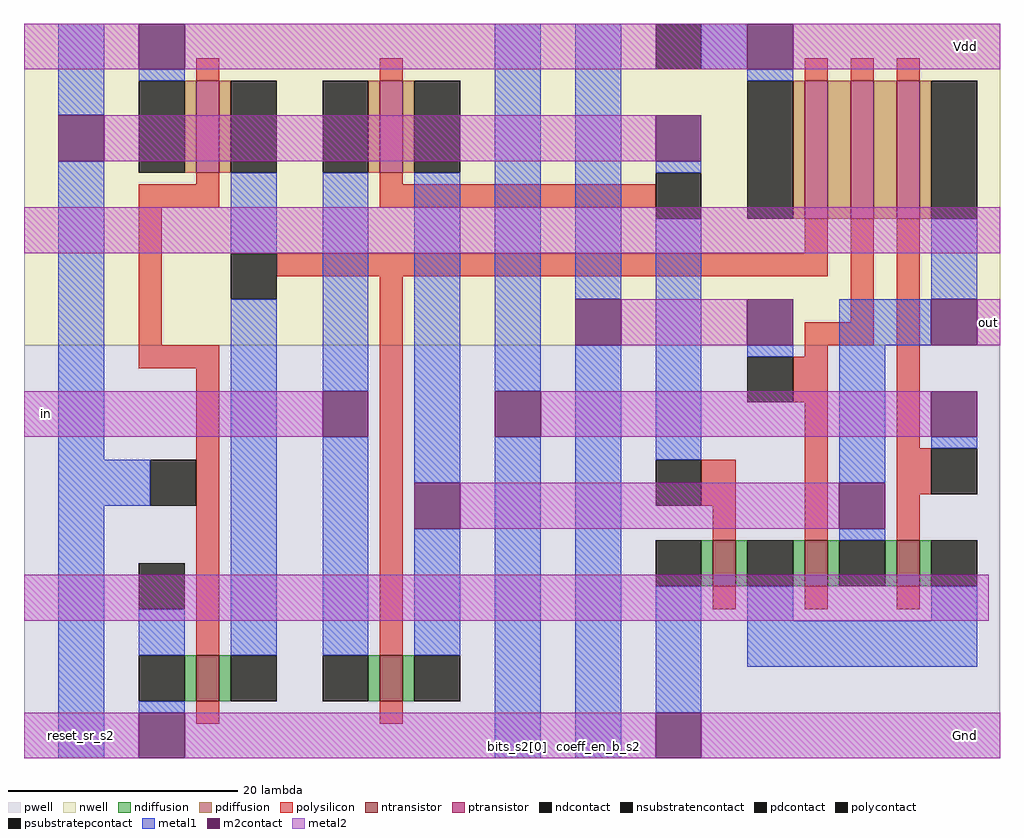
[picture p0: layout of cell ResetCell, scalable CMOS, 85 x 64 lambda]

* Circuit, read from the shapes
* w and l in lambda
.subckt ResetCell Gnd Vdd bits_s2[0] coeff_en_b_s2 in out reset_sr_s2
M1 n1 reset_sr_s2 Gnd Gnd nfet w=4 l=2
M2 out n1 in Gnd nfet w=4 l=2
M3 n2 reset_sr_s2 Gnd Gnd nfet w=4 l=2
M4 out coeff_en_b_s2 n2 Gnd nfet w=4 l=2
M5 n2 bits_s2[0] out Gnd nfet w=4 l=2
M6 n1 reset_sr_s2 Vdd Vdd pfet w=8 l=2
M7 out reset_sr_s2 in Vdd pfet w=8 l=2
M8 n3 n1 Vdd Vdd pfet w=12 l=2
M9 n4 coeff_en_b_s2 n3 Vdd pfet w=12 l=2
M10 out bits_s2[0] n4 Vdd pfet w=12 l=2
.ends

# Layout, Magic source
magic
tech scmos
<< pwell >>
rect -22 -2 63 34
<< nwell >>
rect -22 34 63 62
<< polysilicon >>
rect -7 57 -5 59
rect 9 57 11 59
rect 46 57 48 59
rect 50 57 52 59
rect 54 57 56 59
rect -7 48 -5 49
rect -12 46 -5 48
rect 9 48 11 49
rect 9 46 33 48
rect -12 34 -10 46
rect 46 42 48 45
rect 0 40 48 42
rect -12 32 -5 34
rect -7 7 -5 32
rect 9 7 11 40
rect 50 36 52 45
rect 46 34 52 36
rect 46 33 48 34
rect 45 29 48 33
rect 37 20 40 24
rect 38 17 40 20
rect 46 17 48 29
rect 54 25 56 45
rect 54 21 57 25
rect 54 17 56 21
rect 38 11 40 13
rect 46 11 48 13
rect 54 11 56 13
rect -7 1 -5 3
rect 9 1 11 3
<< ndiffusion >>
rect 37 13 38 17
rect 40 13 41 17
rect 45 13 46 17
rect 48 13 49 17
rect 53 13 54 17
rect 56 13 57 17
rect -8 3 -7 7
rect -5 3 -4 7
rect 8 3 9 7
rect 11 3 12 7
<< pdiffusion >>
rect -8 49 -7 57
rect -5 49 -4 57
rect 8 49 9 57
rect 11 49 12 57
rect 45 45 46 57
rect 48 45 50 57
rect 52 45 54 57
rect 56 45 57 57
<< metal1 >>
rect -19 54 -15 62
rect -19 24 -15 50
rect -12 57 -8 58
rect -4 42 0 49
rect -19 20 -11 24
rect -19 -2 -15 20
rect -12 7 -8 11
rect -4 7 0 38
rect 4 30 8 49
rect 4 7 8 26
rect 12 22 16 49
rect 12 7 16 18
rect 19 30 23 62
rect -12 2 -8 3
rect 19 -2 23 26
rect 26 38 30 62
rect 37 58 41 62
rect 41 57 45 58
rect 26 -2 30 34
rect 33 49 37 50
rect 33 24 37 45
rect 57 38 61 45
rect 41 33 45 34
rect 49 34 57 38
rect 49 22 53 34
rect 57 25 61 26
rect 49 17 53 18
rect 33 2 37 13
rect 41 10 45 13
rect 57 10 61 13
rect 41 6 61 10
<< metal2 >>
rect -22 58 -12 62
rect -8 58 41 62
rect 45 58 63 62
rect -15 50 33 54
rect -22 42 63 46
rect 30 34 41 38
rect 61 34 63 38
rect -22 26 4 30
rect 23 26 57 30
rect 16 18 49 22
rect -22 10 62 14
rect -22 -2 -12 2
rect -8 -2 33 2
rect 37 -2 63 2
<< ntransistor >>
rect 38 13 40 17
rect 46 13 48 17
rect 54 13 56 17
rect -7 3 -5 7
rect 9 3 11 7
<< ptransistor >>
rect -7 49 -5 57
rect 9 49 11 57
rect 46 45 48 57
rect 50 45 52 57
rect 54 45 56 57
<< polycontact >>
rect 33 45 37 49
rect -4 38 0 42
rect -11 20 -7 24
rect 41 29 45 33
rect 33 20 37 24
rect 57 21 61 25
<< ndcontact >>
rect 33 13 37 17
rect 41 13 45 17
rect 49 13 53 17
rect 57 13 61 17
rect -12 3 -8 7
rect -4 3 0 7
rect 4 3 8 7
rect 12 3 16 7
<< pdcontact >>
rect -12 49 -8 57
rect -4 49 0 57
rect 4 49 8 57
rect 12 49 16 57
rect 41 45 45 57
rect 57 45 61 57
<< m2contact >>
rect -19 50 -15 54
rect -12 58 -8 62
rect 4 26 8 30
rect 12 18 16 22
rect 19 26 23 30
rect -12 -2 -8 2
rect 41 58 45 62
rect 26 34 30 38
rect 33 50 37 54
rect 41 34 45 38
rect 57 34 61 38
rect 49 18 53 22
rect 57 26 61 30
rect 33 -2 37 2
<< psubstratepcontact >>
rect -12 11 -8 15
<< nsubstratencontact >>
rect 33 58 37 62
<< labels >>
rlabel metal2 60 0 60 0 3 Gnd
rlabel metal2 60 60 60 60 3 Vdd
rlabel metal2 -20 28 -20 28 7 in
rlabel metal1 -17 0 -17 0 7 reset_sr_s2
rlabel metal1 21 -1 21 -1 6 bits_s2[0]
rlabel metal1 28 -1 28 -1 4 coeff_en_b_s2
rlabel metal2 62 36 62 36 3 out
<< end >>
